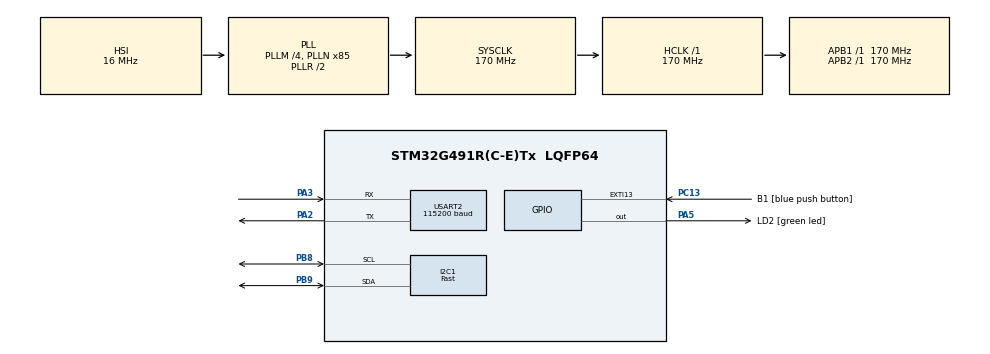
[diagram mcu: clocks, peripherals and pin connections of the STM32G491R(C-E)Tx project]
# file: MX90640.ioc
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I2C1.I2C_Speed_Mode=I2C_Fast
I2C1.Timing=0x10802D9B
Mcu.Family=STM32G4
Mcu.Name=STM32G491R(C-E)Tx
Mcu.Package=LQFP64
NVIC.EXTI15_10_IRQn=true\:0\:0\:false\:false\:true\:true\:true\:true
NVIC.PriorityGroup=NVIC_PRIORITYGROUP_4
NVIC.USART2_IRQn=true\:0\:0\:false\:false\:true\:true\:true\:true
PA13.GPIO_Label=T_SWDIO
PA13.Mode=Serial_Wire
PA13.Signal=SYS_JTMS-SWDIO
PA14.GPIO_Label=T_SWCLK
PA14.Mode=Serial_Wire
PA14.Signal=SYS_JTCK-SWCLK
PA2.Mode=Asynchronous
PA2.Signal=USART2_TX
PA3.Mode=Asynchronous
PA3.Signal=USART2_RX
PA5.GPIO_Label=LD2 [green led]
PA5.Signal=GPIO_Output
PB8-BOOT0.Mode=I2C
PB8-BOOT0.Signal=I2C1_SCL
PB9.Mode=I2C
PB9.Signal=I2C1_SDA
PC13.GPIO_Label=B1 [blue push button]
PC13.Signal=GPXTI13
PC14-OSC32_IN.Mode=LSE-External-Oscillator
PC14-OSC32_IN.Signal=RCC_OSC32_IN
PC15-OSC32_OUT.Mode=LSE-External-Oscillator
PC15-OSC32_OUT.Signal=RCC_OSC32_OUT
PF0-OSC_IN.Mode=HSE-External-Oscillator
PF0-OSC_IN.Signal=RCC_OSC_IN
PF1-OSC_OUT.Mode=HSE-External-Oscillator
PF1-OSC_OUT.Signal=RCC_OSC_OUT
ProjectManager.HeapSize=0x200
ProjectManager.StackSize=0x400
ProjectManager.TargetToolchain=STM32CubeIDE
RCC.ADC12Freq_Value=170000000
RCC.ADC345Freq_Value=170000000
RCC.AHBFreq_Value=170000000
RCC.APB1Freq_Value=170000000
RCC.APB1TimFreq_Value=170000000
RCC.APB2Freq_Value=170000000
RCC.APB2TimFreq_Value=170000000
RCC.CortexFreq_Value=170000000
RCC.EXTERNAL_CLOCK_VALUE=12288000
RCC.HCLKFreq_Value=170000000
RCC.HSE_VALUE=24000000
RCC.HSI48_VALUE=48000000
RCC.HSI_VALUE=16000000
RCC.PLLM=RCC_PLLM_DIV4
RCC.PLLN=85
RCC.RTCClockSelection=RCC_RTCCLKSOURCE_LSE
RCC.SYSCLKFreq_VALUE=170000000
RCC.SYSCLKSource=RCC_SYSCLKSOURCE_PLLCLK
RCC.USBFreq_Value=48000000
RCC.VCOOutputFreq_Value=340000000
TIM7.PeriodNoDither=40000-1
TIM7.Prescaler=17000-1
USART2.BaudRate=115200
USART2.VirtualMode-Asynchronous=VM_ASYNC
VP_SYS_VS_DBSignals.Mode=DisableDeadBatterySignals
VP_TIM7_VS_ClockSourceINT.Mode=Enable_Timer
board=NUCLEO-G491RE

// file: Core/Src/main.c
/* USER CODE BEGIN Header */
/**
  ******************************************************************************
  * @file           : main.c
  * @brief          : Main program body
  ******************************************************************************
  * @attention
  *
  * Copyright (c) 2024 STMicroelectronics.
  * All rights reserved.
  *
  * This software is licensed under terms that can be found in the LICENSE file
  * in the root directory of this software component.
  * If no LICENSE file comes with this software, it is provided AS-IS.
  *
  ******************************************************************************
  */
/* USER CODE END Header */
#include "main.h"

/* USER CODE BEGIN Includes */
#include "MX90640.h"
#include "MLX90640_I2C_Driver.h"
#include <stdio.h>
#include <string.h>
/* USER CODE END Includes */

/* USER CODE BEGIN PD */
#define TA_SHIFT 8 //Default shift for MLX90640 in open air

#define NORMALIZE_PIXEL(value, min_range, max_range, new_min, new_max) (((value) - min_range)/(max_range - min_range) * (new_max - new_min) + new_min)
/* USER CODE END PD */

TIM_HandleTypeDef htim7;

UART_HandleTypeDef huart2;

/* USER CODE BEGIN PV */
static float mlx90640To[768];
paramsMLX90640 mlx90640;
int mlx_addr = 0x33;
/* USER CODE END PV */

void SystemClock_Config(void);
static void MX_GPIO_Init(void);
static void MX_I2C1_Init(void);
static void MX_USART2_UART_Init(void);
static void MX_TIM7_Init(void);
/* USER CODE BEGIN PFP */
#ifdef __GNUC__
#define PUTCHAR_PROTOTYPE int __io_putchar(int ch)
#else
#define PUTCHAR_PROTOTYPE int fputc(int ch, FILE *f)
#endif

PUTCHAR_PROTOTYPE
{
	HAL_UART_Transmit(&huart2, (uint8_t *)&ch, 1, HAL_MAX_DELAY);
	return ch;
}

static void MX_I2C1_fast_Init(void);
/* USER CODE END PFP */

/* USER CODE BEGIN 0 */
uint8_t usart1Buf;
int send_usart = 0;
/* USER CODE END 0 */

int main(void)
{
  /* USER CODE BEGIN 1 */

	const float MIN_RANGE = 30.0f;
	const float MAX_RANGE = 45.0f;
	const uint8_t NEW_MIN = 1;
	const uint8_t NEW_MAX = 255;
  /* USER CODE END 1 */

  /* MCU Configuration--------------------------------------------------------*/

  /* Reset of all peripherals, Initializes the Flash interface and the Systick. */
  HAL_Init();

  /* Configure the system clock */
  SystemClock_Config();

  /* Initialize all configured peripherals */
  MX_GPIO_Init();
  MX_I2C1_Init();
  MX_USART2_UART_Init();
  MX_TIM7_Init();
  /* USER CODE BEGIN 2 */

  HAL_Delay(1000);
  //MLX90640_I2CInit(hi2c1);
  int status;
  uint16_t eeMLX90640[832];

  status = MLX90640_DumpEE(mlx_addr, eeMLX90640);
  if (status != 0)
	  printf("Failed to load system parameters of MLX90640\n");
  status = MLX90640_ExtractParameters(eeMLX90640, &mlx90640);
  if (status != 0)
	  printf("Number of pixel errors: %d\n", status);
  status = MLX90640_SetRefreshRate(mlx_addr, 0x07);
  if (status != 0)
	  printf("Set refresh rate error: %d\n", status);
  status = MLX90640_GetCurMode(mlx_addr);
  	  printf("Current mode: %d\n", status);
  //MLX90640_I2CFreqSet(0);
  uint8_t data[768];
  LL_I2C_DeInit(I2C1);
  MX_I2C1_fast_Init();
  //MLX90640_I2CInit(hi2c1);
  /* USER CODE END 2 */

  /* Infinite loop */
  /* USER CODE BEGIN WHILE */
  while (1)
  {

	  if( __HAL_TIM_GET_COUNTER(&htim7) >= 313)	// Calculate Based on refresh
	  {
		  __HAL_TIM_SET_COUNTER(&htim7, 0);
		  for (int x = 0 ; x < 2 ; x++) //Read both subpages
		  {
		    uint16_t mlx90640Frame[834];
		    int status = MLX90640_GetFrameData(mlx_addr, mlx90640Frame);
		    if (status < 0)
		    {
		    	printf("GetFrame Error: %d\n", status);
		    };
		    float Ta = MLX90640_GetTa(mlx90640Frame, &mlx90640);

		    float tr = Ta - TA_SHIFT; //Reflected temperature based on the sensor ambient temperature
		    float emissivity = MLX90640_CONFIG_EMISSIVITY;

		    MLX90640_CalculateTo(mlx90640Frame, &mlx90640, emissivity, tr, mlx90640To);
		    int mode = MLX90640_GetCurMode(mlx_addr);
		    MLX90640_BadPixelsCorrection(mlx90640.brokenPixels, mlx90640To, mode, &mlx90640);
		  }

		  for (int i = 0; i < 768; i++)
		  {
			  //data[i] = (int)(mlx90640To[i] * 10);
			  if (mlx90640To[i] <= MIN_RANGE)
			  {
				  data[i] = 1;
			  }
			  else if(mlx90640To[i] >= MAX_RANGE)
			  {
				  data[i] = 255;
			  }
			  else
			  {
				  data[i] = (uint8_t)NORMALIZE_PIXEL(mlx90640To[i], MIN_RANGE, MAX_RANGE, NEW_MIN, NEW_MAX);
			  }
		  }
	  }

	  if (send_usart == 1)
	  {
		  HAL_UART_Transmit(&huart2, (uint8_t*)&data, 768, 1000);
		  send_usart = 0;
	  }

    /* USER CODE END WHILE */

  }
}

void SystemClock_Config(void)
{
  RCC_OscInitTypeDef RCC_OscInitStruct = {0};
  RCC_ClkInitTypeDef RCC_ClkInitStruct = {0};

  /** Configure the main internal regulator output voltage
  */
  HAL_PWREx_ControlVoltageScaling(PWR_REGULATOR_VOLTAGE_SCALE1_BOOST);

  /** Initializes the RCC Oscillators according to the specified parameters
  * in the RCC_OscInitTypeDef structure.
  */
  RCC_OscInitStruct.OscillatorType = RCC_OSCILLATORTYPE_HSI;
  RCC_OscInitStruct.HSIState = RCC_HSI_ON;
  RCC_OscInitStruct.HSICalibrationValue = RCC_HSICALIBRATION_DEFAULT;
  RCC_OscInitStruct.PLL.PLLState = RCC_PLL_ON;
  RCC_OscInitStruct.PLL.PLLSource = RCC_PLLSOURCE_HSI;
  RCC_OscInitStruct.PLL.PLLM = RCC_PLLM_DIV4;
  RCC_OscInitStruct.PLL.PLLN = 85;
  RCC_OscInitStruct.PLL.PLLP = RCC_PLLP_DIV2;
  RCC_OscInitStruct.PLL.PLLQ = RCC_PLLQ_DIV2;
  RCC_OscInitStruct.PLL.PLLR = RCC_PLLR_DIV2;
  if (HAL_RCC_OscConfig(&RCC_OscInitStruct) != HAL_OK)
  {
    Error_Handler();
  }

  /** Initializes the CPU, AHB and APB buses clocks
  */
  RCC_ClkInitStruct.ClockType = RCC_CLOCKTYPE_HCLK|RCC_CLOCKTYPE_SYSCLK
                              |RCC_CLOCKTYPE_PCLK1|RCC_CLOCKTYPE_PCLK2;
  RCC_ClkInitStruct.SYSCLKSource = RCC_SYSCLKSOURCE_PLLCLK;
  RCC_ClkInitStruct.AHBCLKDivider = RCC_SYSCLK_DIV1;
  RCC_ClkInitStruct.APB1CLKDivider = RCC_HCLK_DIV1;
  RCC_ClkInitStruct.APB2CLKDivider = RCC_HCLK_DIV1;

  if (HAL_RCC_ClockConfig(&RCC_ClkInitStruct, FLASH_LATENCY_4) != HAL_OK)
  {
    Error_Handler();
  }
}

static void MX_I2C1_Init(void)
{

  LL_I2C_InitTypeDef I2C_InitStruct = {0};

  LL_GPIO_InitTypeDef GPIO_InitStruct = {0};
  RCC_PeriphCLKInitTypeDef PeriphClkInit = {0};

  /** Initializes the peripherals clocks
  */
  PeriphClkInit.PeriphClockSelection = RCC_PERIPHCLK_I2C1;
  PeriphClkInit.I2c1ClockSelection = RCC_I2C1CLKSOURCE_PCLK1;
  if (HAL_RCCEx_PeriphCLKConfig(&PeriphClkInit) != HAL_OK)
  {
    Error_Handler();
  }

  LL_AHB2_GRP1_EnableClock(LL_AHB2_GRP1_PERIPH_GPIOB);
  /**I2C1 GPIO Configuration
  PB8-BOOT0   ------> I2C1_SCL
  PB9   ------> I2C1_SDA
  */
  GPIO_InitStruct.Pin = LL_GPIO_PIN_8;
  GPIO_InitStruct.Mode = LL_GPIO_MODE_ALTERNATE;
  GPIO_InitStruct.Speed = LL_GPIO_SPEED_FREQ_LOW;
  GPIO_InitStruct.OutputType = LL_GPIO_OUTPUT_OPENDRAIN;
  GPIO_InitStruct.Pull = LL_GPIO_PULL_NO;
  GPIO_InitStruct.Alternate = LL_GPIO_AF_4;
  LL_GPIO_Init(GPIOB, &GPIO_InitStruct);

  GPIO_InitStruct.Pin = LL_GPIO_PIN_9;
  GPIO_InitStruct.Mode = LL_GPIO_MODE_ALTERNATE;
  GPIO_InitStruct.Speed = LL_GPIO_SPEED_FREQ_LOW;
  GPIO_InitStruct.OutputType = LL_GPIO_OUTPUT_OPENDRAIN;
  GPIO_InitStruct.Pull = LL_GPIO_PULL_NO;
  GPIO_InitStruct.Alternate = LL_GPIO_AF_4;
  LL_GPIO_Init(GPIOB, &GPIO_InitStruct);

  /* Peripheral clock enable */
  LL_APB1_GRP1_EnableClock(LL_APB1_GRP1_PERIPH_I2C1);

  /** I2C Initialization
  */
  I2C_InitStruct.PeripheralMode = LL_I2C_MODE_I2C;
  I2C_InitStruct.Timing = 0x10802D9B;
  I2C_InitStruct.AnalogFilter = LL_I2C_ANALOGFILTER_ENABLE;
  I2C_InitStruct.DigitalFilter = 0;
  I2C_InitStruct.OwnAddress1 = 0;
  I2C_InitStruct.TypeAcknowledge = LL_I2C_ACK;
  I2C_InitStruct.OwnAddrSize = LL_I2C_OWNADDRESS1_7BIT;
  LL_I2C_Init(I2C1, &I2C_InitStruct);
  LL_I2C_EnableAutoEndMode(I2C1);
  LL_I2C_SetOwnAddress2(I2C1, 0, LL_I2C_OWNADDRESS2_NOMASK);
  LL_I2C_DisableOwnAddress2(I2C1);
  LL_I2C_DisableGeneralCall(I2C1);
  LL_I2C_EnableClockStretching(I2C1);

}

static void MX_TIM7_Init(void)
{

  TIM_MasterConfigTypeDef sMasterConfig = {0};

  htim7.Instance = TIM7;
  htim7.Init.Prescaler = 17000-1;
  htim7.Init.CounterMode = TIM_COUNTERMODE_UP;
  htim7.Init.Period = 39999;
  htim7.Init.AutoReloadPreload = TIM_AUTORELOAD_PRELOAD_DISABLE;
  if (HAL_TIM_Base_Init(&htim7) != HAL_OK)
  {
    Error_Handler();
  }
  sMasterConfig.MasterOutputTrigger = TIM_TRGO_RESET;
  sMasterConfig.MasterSlaveMode = TIM_MASTERSLAVEMODE_DISABLE;
  if (HAL_TIMEx_MasterConfigSynchronization(&htim7, &sMasterConfig) != HAL_OK)
  {
    Error_Handler();
  }
  /* USER CODE BEGIN TIM7_Init 2 */
  HAL_TIM_Base_Start(&htim7);
  /* USER CODE END TIM7_Init 2 */

}

static void MX_USART2_UART_Init(void)
{

  huart2.Instance = USART2;
  huart2.Init.BaudRate = 115200;
  huart2.Init.WordLength = UART_WORDLENGTH_8B;
  huart2.Init.StopBits = UART_STOPBITS_1;
  huart2.Init.Parity = UART_PARITY_NONE;
  huart2.Init.Mode = UART_MODE_TX_RX;
  huart2.Init.HwFlowCtl = UART_HWCONTROL_NONE;
  huart2.Init.OverSampling = UART_OVERSAMPLING_16;
  huart2.Init.OneBitSampling = UART_ONE_BIT_SAMPLE_DISABLE;
  huart2.Init.ClockPrescaler = UART_PRESCALER_DIV1;
  huart2.AdvancedInit.AdvFeatureInit = UART_ADVFEATURE_NO_INIT;
  if (HAL_UART_Init(&huart2) != HAL_OK)
  {
    Error_Handler();
  }
  if (HAL_UARTEx_SetTxFifoThreshold(&huart2, UART_TXFIFO_THRESHOLD_1_8) != HAL_OK)
  {
    Error_Handler();
  }
  if (HAL_UARTEx_SetRxFifoThreshold(&huart2, UART_RXFIFO_THRESHOLD_1_8) != HAL_OK)
  {
    Error_Handler();
  }
  if (HAL_UARTEx_DisableFifoMode(&huart2) != HAL_OK)
  {
    Error_Handler();
  }
  /* USER CODE BEGIN USART2_Init 2 */
  HAL_UART_Receive_IT(&huart2, &usart1Buf, 1); 	//Enable interrupt
  /* USER CODE END USART2_Init 2 */

}

static void MX_GPIO_Init(void)
{
  GPIO_InitTypeDef GPIO_InitStruct = {0};

  /* GPIO Ports Clock Enable */
  __HAL_RCC_GPIOC_CLK_ENABLE();
  __HAL_RCC_GPIOF_CLK_ENABLE();
  __HAL_RCC_GPIOA_CLK_ENABLE();
  __HAL_RCC_GPIOB_CLK_ENABLE();

  /*Configure GPIO pin Output Level */
  HAL_GPIO_WritePin(LD2_GPIO_Port, LD2_Pin, GPIO_PIN_RESET);

  /*Configure GPIO pin : B1_Pin */
  GPIO_InitStruct.Pin = B1_Pin;
  GPIO_InitStruct.Mode = GPIO_MODE_IT_RISING;
  GPIO_InitStruct.Pull = GPIO_NOPULL;
  HAL_GPIO_Init(B1_GPIO_Port, &GPIO_InitStruct);

  /*Configure GPIO pin : LD2_Pin */
  GPIO_InitStruct.Pin = LD2_Pin;
  GPIO_InitStruct.Mode = GPIO_MODE_OUTPUT_PP;
  GPIO_InitStruct.Pull = GPIO_NOPULL;
  GPIO_InitStruct.Speed = GPIO_SPEED_FREQ_LOW;
  HAL_GPIO_Init(LD2_GPIO_Port, &GPIO_InitStruct);

  /* EXTI interrupt init*/
  HAL_NVIC_SetPriority(EXTI15_10_IRQn, 0, 0);
  HAL_NVIC_EnableIRQ(EXTI15_10_IRQn);

}

/* USER CODE BEGIN 4 */
void HAL_UART_RxCpltCallback(UART_HandleTypeDef *huart)
{
	if (huart->Instance == USART2)
	{
		send_usart = 1;
		HAL_UART_Receive_IT(&huart2, &usart1Buf, 1);
	}
}

/**
  * @brief I2C1 Initialization Function
  * @param None
  * @retval None
  */
static void MX_I2C1_fast_Init(void)
{

	  /* USER CODE BEGIN I2C1_Init 0 */

	  /* USER CODE END I2C1_Init 0 */

	  LL_I2C_InitTypeDef I2C_InitStruct = {0};

	  LL_GPIO_InitTypeDef GPIO_InitStruct = {0};
	  RCC_PeriphCLKInitTypeDef PeriphClkInit = {0};

	  /** Initializes the peripherals clocks
	  */
	  PeriphClkInit.PeriphClockSelection = RCC_PERIPHCLK_I2C1;
	  PeriphClkInit.I2c1ClockSelection = RCC_I2C1CLKSOURCE_PCLK1;
	  if (HAL_RCCEx_PeriphCLKConfig(&PeriphClkInit) != HAL_OK)
	  {
	    Error_Handler();
	  }

	  LL_AHB2_GRP1_EnableClock(LL_AHB2_GRP1_PERIPH_GPIOB);
	  /**I2C1 GPIO Configuration
	  PB8-BOOT0   ------> I2C1_SCL
	  PB9   ------> I2C1_SDA
	  */
	  GPIO_InitStruct.Pin = LL_GPIO_PIN_8;
	  GPIO_InitStruct.Mode = LL_GPIO_MODE_ALTERNATE;
	  GPIO_InitStruct.Speed = LL_GPIO_SPEED_FREQ_LOW;
	  GPIO_InitStruct.OutputType = LL_GPIO_OUTPUT_OPENDRAIN;
	  GPIO_InitStruct.Pull = LL_GPIO_PULL_NO;
	  GPIO_InitStruct.Alternate = LL_GPIO_AF_4;
	  LL_GPIO_Init(GPIOB, &GPIO_InitStruct);

	  GPIO_InitStruct.Pin = LL_GPIO_PIN_9;
	  GPIO_InitStruct.Mode = LL_GPIO_MODE_ALTERNATE;
	  GPIO_InitStruct.Speed = LL_GPIO_SPEED_FREQ_LOW;
	  GPIO_InitStruct.OutputType = LL_GPIO_OUTPUT_OPENDRAIN;
	  GPIO_InitStruct.Pull = LL_GPIO_PULL_NO;
	  GPIO_InitStruct.Alternate = LL_GPIO_AF_4;
	  LL_GPIO_Init(GPIOB, &GPIO_InitStruct);

	  /* Peripheral clock enable */
	  LL_APB1_GRP1_EnableClock(LL_APB1_GRP1_PERIPH_I2C1);

	  /* USER CODE BEGIN I2C1_Init 1 */

	  /* USER CODE END I2C1_Init 1 */

	  /** I2C Initialization
	  */
	  I2C_InitStruct.PeripheralMode = LL_I2C_MODE_I2C;
	  I2C_InitStruct.Timing = 0x00802172;
	  I2C_InitStruct.AnalogFilter = LL_I2C_ANALOGFILTER_ENABLE;
	  I2C_InitStruct.DigitalFilter = 0;
	  I2C_InitStruct.OwnAddress1 = 0;
	  I2C_InitStruct.TypeAcknowledge = LL_I2C_ACK;
	  I2C_InitStruct.OwnAddrSize = LL_I2C_OWNADDRESS1_7BIT;
	  LL_I2C_Init(I2C1, &I2C_InitStruct);
	  LL_I2C_EnableAutoEndMode(I2C1);
	  LL_I2C_SetOwnAddress2(I2C1, 0, LL_I2C_OWNADDRESS2_NOMASK);
	  LL_I2C_DisableOwnAddress2(I2C1);
	  LL_I2C_DisableGeneralCall(I2C1);
	  LL_I2C_EnableClockStretching(I2C1);

	  /** I2C Fast mode Plus enable
	  */
	  LL_SYSCFG_EnableFastModePlus(LL_SYSCFG_I2C_FASTMODEPLUS_I2C1);
	  /* USER CODE BEGIN I2C1_Init 2 */

	  /* USER CODE END I2C1_Init 2 */

}
/* USER CODE END 4 */

void Error_Handler(void)
{
  __disable_irq();
  while (1)
  {
  }
}
